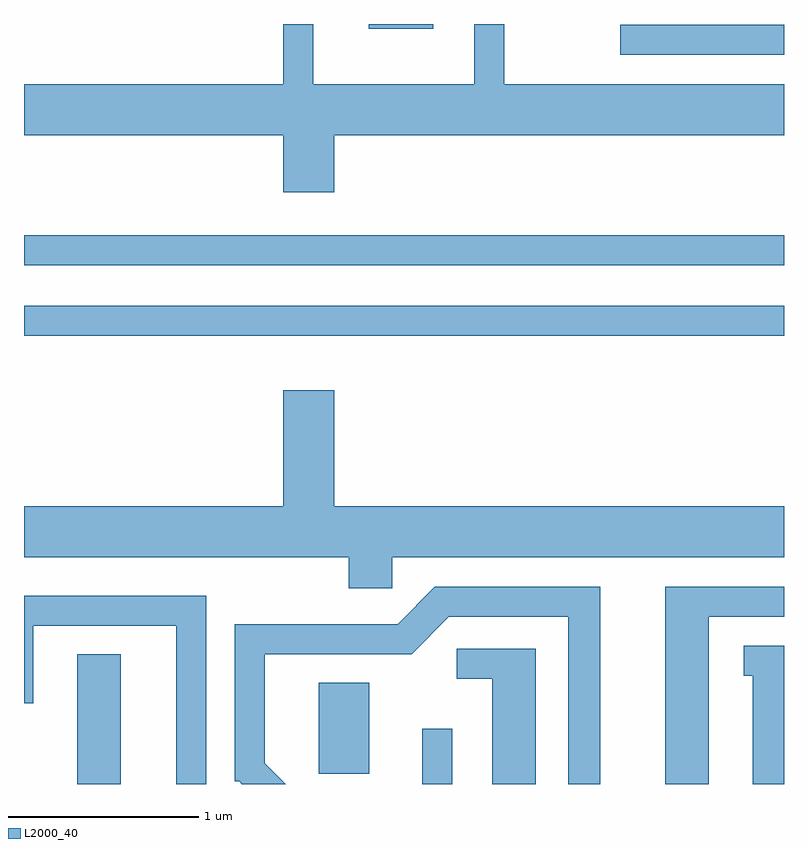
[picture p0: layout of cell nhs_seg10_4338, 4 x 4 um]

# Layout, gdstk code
import gdstk
lib = gdstk.Library(unit=1e-6, precision=1e-09)
def R(c, l, rs):  # rectangles x0, y0, x1, y1
    for r in rs: c.add(gdstk.rectangle(r[:2], r[2:], *l))
def P(c, l, *ps):  # polygons
    for p in ps: c.add(gdstk.Polygon(p, *l))
L2000_40 = (2000, 40)

nhs_seg10_4338 = lib.new_cell('nhs_seg10_4338')
R(nhs_seg10_4338, L2000_40, [(313.891,2090.522,314.119,2091.204), (315.706,2090.522,315.864,2090.813), (315.161,2090.576,315.429,2091.054), (313.611,2092.881,317.611,2093.039), (313.611,2093.251,317.611,2093.409), (316.748,2094.361,317.611,2094.519), (315.426,2094.496,315.764,2094.522)])
P(nhs_seg10_4338, L2000_40, [(315.244,2093.936),(317.611,2093.936),(317.611,2094.204),(316.139,2094.204),(316.139,2094.522),(315.981,2094.522),(315.981,2094.204),(315.134,2094.204),(315.134,2094.522),(314.976,2094.522),(314.976,2094.204),(313.611,2094.204),(313.611,2093.936),(314.976,2093.936),(314.976,2093.636),(315.244,2093.636)],
  [(315.549,2091.716),(317.611,2091.716),(317.611,2091.984),(315.244,2091.984),(315.244,2092.594),(314.976,2092.594),(314.976,2091.984),(313.611,2091.984),(313.611,2091.716),(315.321,2091.716),(315.321,2091.551),(315.549,2091.551)],
  [(317.214,2091.401),(317.611,2091.401),(317.611,2091.559),(316.986,2091.559),(316.986,2090.522),(317.214,2090.522)],
  [(314.879,2090.632),(314.879,2091.206),(315.652,2091.206),(315.847,2091.401),(316.476,2091.401),(316.476,2090.522),(316.644,2090.522),(316.644,2091.559),(315.774,2091.559),(315.579,2091.364),(314.721,2091.364),(314.721,2090.536),(314.744,2090.536),(314.758,2090.522),(314.989,2090.522)],
  [(314.569,2091.514),(313.611,2091.514),(313.611,2090.946),(313.659,2090.946),(313.659,2091.356),(314.411,2091.356),(314.411,2090.522),(314.569,2090.522)],
  [(317.611,2091.249),(317.398,2091.249),(317.398,2091.091),(317.446,2091.091),(317.446,2090.522),(317.611,2090.522)],
  [(316.304,2091.234),(315.888,2091.234),(315.888,2091.076),(316.076,2091.076),(316.076,2090.522),(316.304,2090.522)])

lib.write_gds('nhs_seg10_4338.gds')
